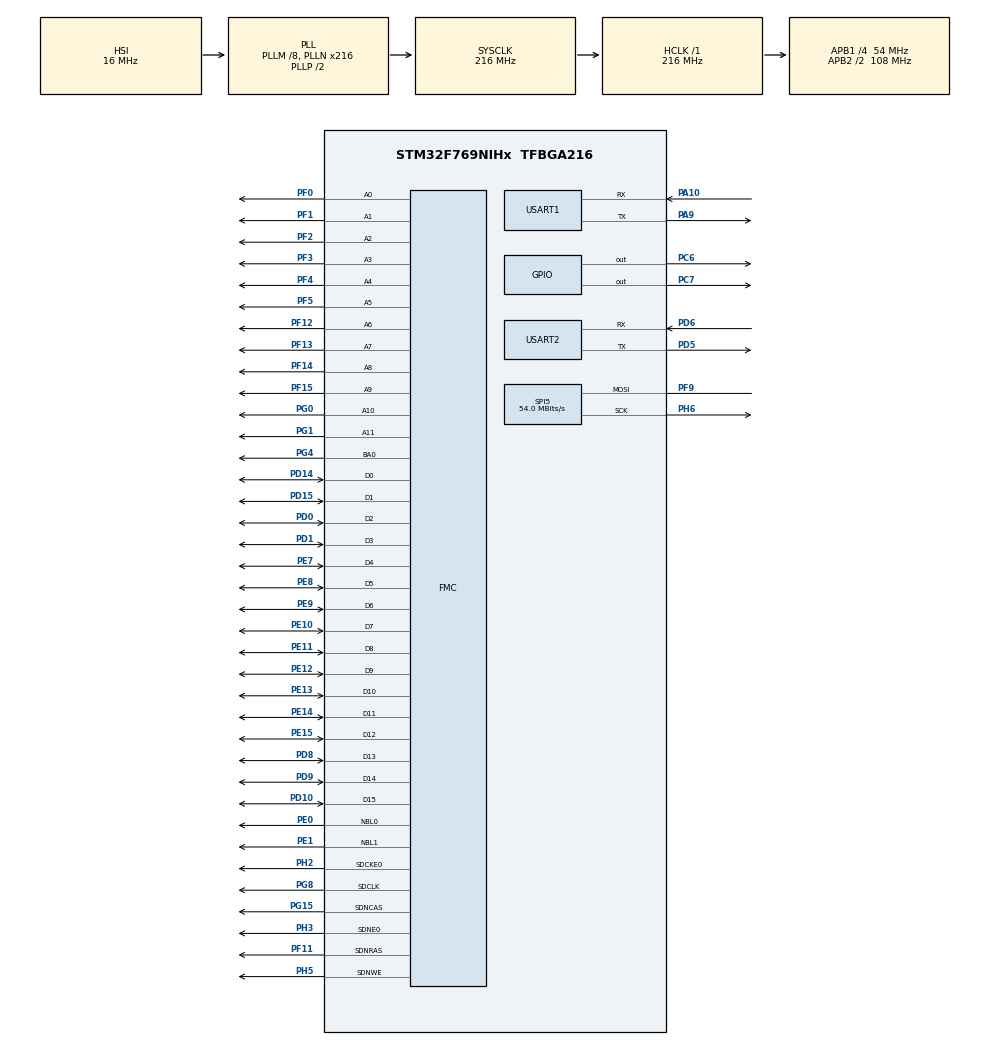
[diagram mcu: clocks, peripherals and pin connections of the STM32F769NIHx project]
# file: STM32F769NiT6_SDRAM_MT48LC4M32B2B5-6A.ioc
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CORTEX_M7.AccessPermission-Cortex_Memory_Protection_Unit_Region0_Settings=MPU_REGION_FULL_ACCESS
CORTEX_M7.BaseAddress-Cortex_Memory_Protection_Unit_Region0_Settings=0x20010000
CORTEX_M7.CPU_DCache=Enabled
CORTEX_M7.CPU_ICache=Enabled
CORTEX_M7.Enable-Cortex_Memory_Protection_Unit_Region0_Settings=MPU_REGION_ENABLE
CORTEX_M7.IsCacheable-Cortex_Memory_Protection_Unit_Region0_Settings=MPU_ACCESS_CACHEABLE
CORTEX_M7.MPU_Control=MPU_PRIVILEGED_DEFAULT
CORTEX_M7.Size-Cortex_Memory_Protection_Unit_Region0_Settings=MPU_REGION_SIZE_256B
FMC.CASLatency1=FMC_SDRAM_CAS_LATENCY_2
FMC.ExitSelfRefreshDelay1=6
FMC.LoadToActiveDelay1=2
FMC.RCDDelay1=2
FMC.RPDelay1=2
FMC.ReadBurst1=FMC_SDRAM_RBURST_ENABLE
FMC.RowCycleDelay1=6
FMC.SDClockPeriod1=FMC_SDRAM_CLOCK_PERIOD_2
FMC.SelfRefreshTime1=4
FMC.WriteRecoveryTime1=2
Mcu.Family=STM32F7
Mcu.Name=STM32F769NIHx
Mcu.Package=TFBGA216
NVIC.PriorityGroup=NVIC_PRIORITYGROUP_4
PA10.Mode=Asynchronous
PA10.Signal=USART1_RX
PA13.Mode=Serial_Wire
PA13.Signal=SYS_JTMS-SWDIO
PA14.Mode=Serial_Wire
PA14.Signal=SYS_JTCK-SWCLK
PA9.Mode=Asynchronous
PA9.Signal=USART1_TX
PC6.Signal=GPIO_Output
PC7.Signal=GPIO_Output
PD0.Signal=FMC_D2_DA2
PD1.Signal=FMC_D3_DA3
PD10.Signal=FMC_D15_DA15
PD14.Signal=FMC_D0_DA0
PD15.Signal=FMC_D1_DA1
PD5.Mode=Asynchronous
PD5.Signal=USART2_TX
PD6.Mode=Asynchronous
PD6.Signal=USART2_RX
PD8.Signal=FMC_D13_DA13
PD9.Signal=FMC_D14_DA14
PE0.Signal=FMC_NBL0
PE1.Signal=FMC_NBL1
PE10.Signal=FMC_D7_DA7
PE11.Signal=FMC_D8_DA8
PE12.Signal=FMC_D9_DA9
PE13.Signal=FMC_D10_DA10
PE14.Signal=FMC_D11_DA11
PE15.Signal=FMC_D12_DA12
PE7.Signal=FMC_D4_DA4
PE8.Signal=FMC_D5_DA5
PE9.Signal=FMC_D6_DA6
PF0.Signal=FMC_A0
PF1.Signal=FMC_A1
PF11.Signal=FMC_SDNRAS
PF12.Signal=FMC_A6
PF13.Signal=FMC_A7
PF14.Signal=FMC_A8
PF15.Signal=FMC_A9
PF2.Signal=FMC_A2
PF3.Signal=FMC_A3
PF4.Signal=FMC_A4
PF5.Signal=FMC_A5
PF9.Mode=Simplex_Bidirectional_Master
PF9.Signal=SPI5_MOSI
PG0.Signal=FMC_A10
PG1.Signal=FMC_A11
PG15.Signal=FMC_SDNCAS
PG4.Signal=FMC_A14_BA0
PG8.Signal=FMC_SDCLK
PH0/OSC_IN.Mode=HSE-External-Oscillator
PH0/OSC_IN.Signal=RCC_OSC_IN
PH1/OSC_OUT.Mode=HSE-External-Oscillator
PH1/OSC_OUT.Signal=RCC_OSC_OUT
PH2.Mode=SdramChipSelect1_1
PH2.Signal=FMC_SDCKE0
PH3.Mode=SdramChipSelect1_1
PH3.Signal=FMC_SDNE0
PH5.Signal=FMC_SDNWE
PH6.Mode=Simplex_Bidirectional_Master
PH6.Signal=SPI5_SCK
ProjectManager.HeapSize=0x2000
ProjectManager.StackSize=0x4000
ProjectManager.TargetToolchain=STM32CubeIDE
RCC.AHBFreq_Value=216000000
RCC.APB1CLKDivider=RCC_HCLK_DIV4
RCC.APB1Freq_Value=54000000
RCC.APB1TimFreq_Value=108000000
RCC.APB2CLKDivider=RCC_HCLK_DIV2
RCC.APB2Freq_Value=108000000
RCC.APB2TimFreq_Value=216000000
RCC.CortexFreq_Value=216000000
RCC.HCLKFreq_Value=216000000
RCC.HSE_VALUE=25000000
RCC.HSI_VALUE=16000000
RCC.LSE_VALUE=32768
RCC.PLLM=8
RCC.PLLN=216
RCC.SYSCLKFreq_VALUE=216000000
RCC.SYSCLKSource=RCC_SYSCLKSOURCE_PLLCLK
RCC.USBFreq_Value=216000000
RCC.VCOOutputFreq_Value=432000000
SH.FMC_A0.0=FMC_A0,12b-sda1
SH.FMC_A1.0=FMC_A1,12b-sda1
SH.FMC_A10.0=FMC_A10,12b-sda1
SH.FMC_A11.0=FMC_A11,12b-sda1
SH.FMC_A14_BA0.0=FMC_BA0,TwoSdramBanks1
SH.FMC_A2.0=FMC_A2,12b-sda1
SH.FMC_A3.0=FMC_A3,12b-sda1
SH.FMC_A4.0=FMC_A4,12b-sda1
SH.FMC_A5.0=FMC_A5,12b-sda1
SH.FMC_A6.0=FMC_A6,12b-sda1
SH.FMC_A7.0=FMC_A7,12b-sda1
SH.FMC_A8.0=FMC_A8,12b-sda1
SH.FMC_A9.0=FMC_A9,12b-sda1
SH.FMC_D0_DA0.0=FMC_D0,sd-16b-d1
SH.FMC_D10_DA10.0=FMC_D10,sd-16b-d1
SH.FMC_D11_DA11.0=FMC_D11,sd-16b-d1
SH.FMC_D12_DA12.0=FMC_D12,sd-16b-d1
SH.FMC_D13_DA13.0=FMC_D13,sd-16b-d1
SH.FMC_D14_DA14.0=FMC_D14,sd-16b-d1
SH.FMC_D15_DA15.0=FMC_D15,sd-16b-d1
SH.FMC_D1_DA1.0=FMC_D1,sd-16b-d1
SH.FMC_D2_DA2.0=FMC_D2,sd-16b-d1
SH.FMC_D3_DA3.0=FMC_D3,sd-16b-d1
SH.FMC_D4_DA4.0=FMC_D4,sd-16b-d1
SH.FMC_D5_DA5.0=FMC_D5,sd-16b-d1
SH.FMC_D6_DA6.0=FMC_D6,sd-16b-d1
SH.FMC_D7_DA7.0=FMC_D7,sd-16b-d1
SH.FMC_D8_DA8.0=FMC_D8,sd-16b-d1
SH.FMC_D9_DA9.0=FMC_D9,sd-16b-d1
SH.FMC_NBL0.0=FMC_NBL0,Sd2ByteEnable1
SH.FMC_NBL1.0=FMC_NBL1,Sd2ByteEnable1
SH.FMC_SDCLK.0=FMC_SDCLK,12b-sda1
SH.FMC_SDNCAS.0=FMC_SDNCAS,12b-sda1
SH.FMC_SDNRAS.0=FMC_SDNRAS,12b-sda1
SH.FMC_SDNWE.0=FMC_SDNWE,12b-sda1
SPI5.CLKPolarity=SPI_POLARITY_HIGH
SPI5.CalculateBaudRate=54.0 MBits/s
SPI5.DataSize=SPI_DATASIZE_8BIT
SPI5.Direction=SPI_DIRECTION_1LINE
SPI5.Mode=SPI_MODE_MASTER
SPI5.VirtualType=VM_MASTER
USART1.VirtualMode-Asynchronous=VM_ASYNC
USART2.VirtualMode-Asynchronous=VM_ASYNC
board=custom

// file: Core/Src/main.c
/* USER CODE BEGIN Header */
/**
 ******************************************************************************
 * @file           : main.c
 * @brief          : Main program body
 ******************************************************************************
 * @attention
 *
 * <h2><center>&copy; Copyright (c) 2020 STMicroelectronics.
 * All rights reserved.</center></h2>
 *
 * This software component is licensed by ST under BSD 3-Clause license,
 * the "License"; You may not use this file except in compliance with the
 * License. You may obtain a copy of the License at:
 *                        opensource.org/licenses/BSD-3-Clause
 *
 ******************************************************************************
 */
/* USER CODE END Header */

#include "main.h"
#include "spi.h"
#include "usart.h"
#include "gpio.h"
#include "fmc.h"

/* USER CODE BEGIN Includes */
#include "MT48LC4M32B2.h"
#include "st7789.h"
/* USER CODE END Includes */

/* USER CODE BEGIN PTD */

uint32_t aRxBuffer[BUFFER_SIZE];
uint32_t aTxBuffer[BUFFER_SIZE];
uint32_t uwIndex = 0;

/* USER CODE END PTD */

void SystemClock_Config(void);
static void MPU_Config(void);
/* USER CODE BEGIN PFP */
void UART_Printf(const char *fmt, ...);

static void Fill_Buffer(uint32_t *pBuffer, uint32_t uwBufferLength,
		uint32_t uwOffset) {
	for (uint32_t tmpIndex = 0; tmpIndex <= uwBufferLength; tmpIndex++) {
		pBuffer[tmpIndex] = tmpIndex + uwOffset;
	}
}

/* USER CODE END PFP */

int main(void) {
	/* USER CODE BEGIN 1 */
	char str1[50] = { 0, };
	/* USER CODE END 1 */

	/* MPU Configuration--------------------------------------------------------*/
	MPU_Config();

	/* Enable I-Cache---------------------------------------------------------*/
	SCB_EnableICache();

	/* Enable D-Cache---------------------------------------------------------*/
	SCB_EnableDCache();

	/* MCU Configuration--------------------------------------------------------*/

	/* Reset of all peripherals, Initializes the Flash interface and the Systick. */
	HAL_Init();

	/* Configure the system clock */
	SystemClock_Config();

	/* Initialize all configured peripherals */
	MX_GPIO_Init();
	MX_USART1_UART_Init();
	MX_FMC_Init();
	MX_USART2_UART_Init();
	MX_SPI5_Init();
	/* USER CODE BEGIN 2 */
	UART_Printf("Hello\n");

	MT48LC4M32B2_Init(&hsdram1);

	ST7789_Init(240, 240);

	ST7789_FillScreen(BLACK);

	/*Заповнимо буфер будь якими числами*/
	Fill_Buffer(aTxBuffer, BUFFER_SIZE, 0x37BA0F68);
	/*Запишемо aTxBuffer в SDRAM, за адресою: SDRAM_BANK_ADDR + WRITE_READ_ADDR = 0xC0000000 + 0x0800 = 0xC0008000
	 *Сумується адреса банка пам'яті і адреса в самому банку, куди ми пишемо дані */
	MT48LC4M32B2_WriteBuffer(aTxBuffer, SDRAM_BANK_ADDR + WRITE_READ_ADDR,
			BUFFER_SIZE);
	/*Зчитаємо в aRxBuffer з SDRAM, починаючи з адреси: SDRAM_BANK_ADDR + WRITE_READ_ADDR = 0xC0000000 + 0x0800 = 0xC0008000
	 *Сумується адреса банка пам'яті і адреса в самому банку, куди ми пишемо дані */
	MT48LC4M32B2_ReadToBuffer(aRxBuffer, SDRAM_BANK_ADDR + WRITE_READ_ADDR,
			BUFFER_SIZE);
    /*Виведемо в USART вичитані з SDRAM дані.*/
	for (uwIndex = 0; uwIndex < BUFFER_SIZE; uwIndex++) {

		sprintf(str1, "%03ld: 0x%08lX, addr: 0x%08lX\n",
				(unsigned long) uwIndex, (unsigned long) aRxBuffer[uwIndex],
				(unsigned long) &aRxBuffer[uwIndex]);
		HAL_UART_Transmit(&huart1, (uint8_t*) str1, strlen(str1),
		HAL_MAX_DELAY);
		HAL_Delay(100);
	}

	/* USER CODE END 2 */

	/* Infinite loop */
	while (1) {

	}
}

void SystemClock_Config(void) {
	RCC_OscInitTypeDef RCC_OscInitStruct = { 0 };
	RCC_ClkInitTypeDef RCC_ClkInitStruct = { 0 };
	RCC_PeriphCLKInitTypeDef PeriphClkInitStruct = { 0 };

	/** Configure the main internal regulator output voltage
	 */
	__HAL_RCC_PWR_CLK_ENABLE();
	__HAL_PWR_VOLTAGESCALING_CONFIG(PWR_REGULATOR_VOLTAGE_SCALE1);
	/** Initializes the CPU, AHB and APB busses clocks
	 */
	RCC_OscInitStruct.OscillatorType = RCC_OSCILLATORTYPE_HSI;
	RCC_OscInitStruct.HSIState = RCC_HSI_ON;
	RCC_OscInitStruct.HSICalibrationValue = RCC_HSICALIBRATION_DEFAULT;
	RCC_OscInitStruct.PLL.PLLState = RCC_PLL_ON;
	RCC_OscInitStruct.PLL.PLLSource = RCC_PLLSOURCE_HSI;
	RCC_OscInitStruct.PLL.PLLM = 8;
	RCC_OscInitStruct.PLL.PLLN = 216;
	RCC_OscInitStruct.PLL.PLLP = RCC_PLLP_DIV2;
	RCC_OscInitStruct.PLL.PLLQ = 2;
	if (HAL_RCC_OscConfig(&RCC_OscInitStruct) != HAL_OK) {
		Error_Handler();
	}
	/** Activate the Over-Drive mode
	 */
	if (HAL_PWREx_EnableOverDrive() != HAL_OK) {
		Error_Handler();
	}
	/** Initializes the CPU, AHB and APB busses clocks
	 */
	RCC_ClkInitStruct.ClockType = RCC_CLOCKTYPE_HCLK | RCC_CLOCKTYPE_SYSCLK
			| RCC_CLOCKTYPE_PCLK1 | RCC_CLOCKTYPE_PCLK2;
	RCC_ClkInitStruct.SYSCLKSource = RCC_SYSCLKSOURCE_PLLCLK;
	RCC_ClkInitStruct.AHBCLKDivider = RCC_SYSCLK_DIV1;
	RCC_ClkInitStruct.APB1CLKDivider = RCC_HCLK_DIV4;
	RCC_ClkInitStruct.APB2CLKDivider = RCC_HCLK_DIV2;

	if (HAL_RCC_ClockConfig(&RCC_ClkInitStruct, FLASH_LATENCY_7) != HAL_OK) {
		Error_Handler();
	}
	PeriphClkInitStruct.PeriphClockSelection = RCC_PERIPHCLK_USART1
			| RCC_PERIPHCLK_USART2;
	PeriphClkInitStruct.Usart1ClockSelection = RCC_USART1CLKSOURCE_PCLK2;
	PeriphClkInitStruct.Usart2ClockSelection = RCC_USART2CLKSOURCE_PCLK1;
	if (HAL_RCCEx_PeriphCLKConfig(&PeriphClkInitStruct) != HAL_OK) {
		Error_Handler();
	}
}

/* USER CODE BEGIN 4 */
void UART_Printf(const char *fmt, ...) {
	/* На STM32F769NI DISCO треба ремапити USART1 на піни PA9 i PA10 */
	char buff[512];
	va_list args;
	va_start(args, fmt);
	vsnprintf(buff, sizeof(buff), fmt, args);
	HAL_UART_Transmit(&huart1, (uint8_t*) buff, strlen(buff),
	HAL_MAX_DELAY);
	va_end(args);
}
/* USER CODE END 4 */

/* MPU Configuration */

void MPU_Config(void) {
	MPU_Region_InitTypeDef MPU_InitStruct = { 0 };

	/* Disables the MPU */
	HAL_MPU_Disable();
	/** Initializes and configures the Region and the memory to be protected
	 */
	MPU_InitStruct.Enable = MPU_REGION_ENABLE;
	MPU_InitStruct.Number = MPU_REGION_NUMBER0;
	MPU_InitStruct.BaseAddress = 0x20010000;
	MPU_InitStruct.Size = MPU_REGION_SIZE_256B;
	MPU_InitStruct.SubRegionDisable = 0x0;
	MPU_InitStruct.TypeExtField = MPU_TEX_LEVEL0;
	MPU_InitStruct.AccessPermission = MPU_REGION_FULL_ACCESS;
	MPU_InitStruct.DisableExec = MPU_INSTRUCTION_ACCESS_ENABLE;
	MPU_InitStruct.IsShareable = MPU_ACCESS_NOT_SHAREABLE;
	MPU_InitStruct.IsCacheable = MPU_ACCESS_CACHEABLE;
	MPU_InitStruct.IsBufferable = MPU_ACCESS_NOT_BUFFERABLE;

	HAL_MPU_ConfigRegion(&MPU_InitStruct);
	/* Enables the MPU */
	HAL_MPU_Enable(MPU_PRIVILEGED_DEFAULT);

}

void Error_Handler(void) {
}

/************************ (C) COPYRIGHT STMicroelectronics *****END OF FILE****/
